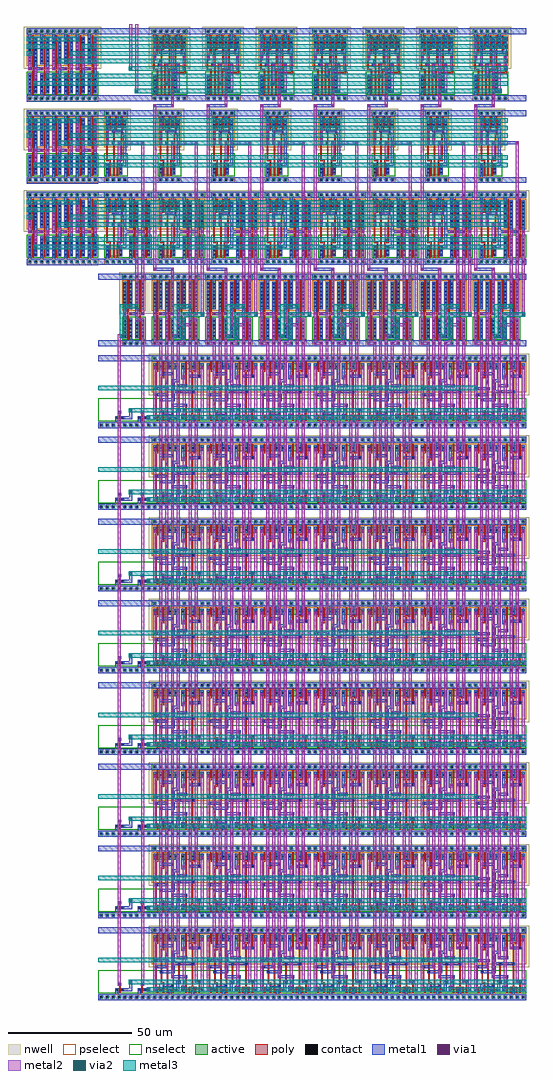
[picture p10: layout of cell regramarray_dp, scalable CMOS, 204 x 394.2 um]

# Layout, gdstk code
from math import pi, radians
import gdstk
lib = gdstk.Library(unit=1e-6, precision=1e-09)
def R(c, l, rs):  # rectangles x0, y0, x1, y1
    for r in rs: c.add(gdstk.rectangle(r[:2], r[2:], *l))
def A(c, l, x, y, w, h, nx, ny, dx, dy):  # array of equal rectangles
    R(c, l, [(x+i*dx, y+j*dy, x+i*dx+w, y+j*dy+h) for i in range(nx) for j in range(ny)])
def P(c, l, *ps):  # polygons
    for p in ps: c.add(gdstk.Polygon(p, *l))
contact = (25, 0)
nwell = (42, 0)
active = (43, 0)
pselect = (44, 0)
nselect = (45, 0)
poly = (46, 0)
metal1 = (49, 0)
via1 = (50, 0)
metal2 = (51, 0)
via2 = (61, 0)
metal3 = (62, 0)

invbuf_4x = lib.new_cell('invbuf_4x')
A(invbuf_4x, contact, 0.9, -0.3, 0.6, 0.6, 4, 2, 2.4, 3)
A(invbuf_4x, contact, 0.9, 4.2, 0.6, 0.6, 4, 4, 2.4, 1.5)
A(invbuf_4x, contact, 0.9, 14.7, 0.6, 0.6, 4, 7, 2.4, 1.5)
A(invbuf_4x, contact, 0.9, 26.7, 0.6, 0.6, 4, 1, 2.4, 0)
R(invbuf_4x, contact, [(0.9,11.7,1.5,12.3), (5.7,11.7,6.3,12.3)])
R(invbuf_4x, nwell, [(-1.2,12,6,28.8), (3.6,12,10.8,28.8)])
A(invbuf_4x, active, 0.6, -0.6, 1.2, 1.2, 4, 2, 2.4, 27)
R(invbuf_4x, active, [(0.6,2.1,4.2,10.2), (5.4,2.1,9,10.2), (0.6,13.8,4.2,24.9), (5.4,13.8,9,24.9)])
R(invbuf_4x, pselect, [(0,-1.2,4.8,1.2), (4.8,-1.2,9.6,1.2), (0,13.2,4.8,25.5), (4.8,13.2,9.6,25.5)])
R(invbuf_4x, nselect, [(0,1.5,4.8,10.8), (4.8,1.5,9.6,10.8), (0,25.8,4.8,28.2), (4.8,25.8,9.6,28.2)])
P(invbuf_4x, poly, [(7.5,25.5),(6.9,25.5),(6.9,12.6),(5.4,12.6),(5.4,11.4),(6.9,11.4),(6.9,1.5),(7.5,1.5)],
  [(2.7,25.5),(2.1,25.5),(2.1,12.6),(0.6,12.6),(0.6,11.4),(2.1,11.4),(2.1,1.5),(2.7,1.5)])
R(invbuf_4x, metal1, [(0,-1.2,9.6,1.2), (0,-1.2,4.8,1.2), (4.8,-1.2,9.6,1.2), (3,2.1,4.2,24.9), (7.8,2.1,9,24.9), (0.6,11.4,1.8,12.6), (3,11.4,6.6,12.6), (0,25.8,9.6,28.2), (0,25.8,4.8,28.2), (4.8,25.8,9.6,28.2)])
P(invbuf_4x, metal1, [(9.6,1.2),(6.6,1.2),(6.6,10.2),(5.4,10.2),(5.4,1.2),(4.8,1.2),(4.8,-1.2),(9.6,-1.2)],
  [(9.6,28.2),(4.8,28.2),(4.8,25.8),(5.4,25.8),(5.4,13.8),(6.6,13.8),(6.6,25.8),(9.6,25.8)],
  [(4.8,1.2),(1.8,1.2),(1.8,10.2),(0.6,10.2),(0.6,1.2),(0,1.2),(0,-1.2),(4.8,-1.2)],
  [(4.8,28.2),(0,28.2),(0,25.8),(0.6,25.8),(0.6,13.8),(1.8,13.8),(1.8,25.8),(4.8,25.8)])
R(invbuf_4x, via1, [(0.9,11.7,1.5,12.3), (3.3,11.7,3.9,12.3), (8.1,11.7,8.7,12.3)])
R(invbuf_4x, metal2, [(0.6,11.4,1.8,12.6), (0.6,11.4,1.8,12.6), (0.6,11.4,1.8,12.6), (0.6,11.4,2.1,12.6), (3,11.4,4.2,12.6), (3,11.4,4.2,12.6), (3,11.4,4.2,12.6), (5.4,11.4,6.6,12.6), (5.4,11.4,6.6,12.6), (7.8,11.4,9,12.6), (7.8,11.4,9,12.6), (7.8,11.4,9,12.6)])

nand3_1x = lib.new_cell('nand3_1x')
A(nand3_1x, contact, 0.9, -0.3, 0.6, 0.6, 4, 2, 2.4, 22.2)
A(nand3_1x, contact, 0.9, 2.7, 0.6, 0.6, 1, 3, 0, 1.5)
A(nand3_1x, contact, 6.3, 2.7, 0.6, 0.6, 1, 3, 0, 1.5)
A(nand3_1x, contact, 0.9, 14.7, 0.6, 0.6, 3, 1, 2.4, 0)
A(nand3_1x, contact, 0.9, 23.4, 0.6, 0.6, 4, 2, 2.4, 3.3)
R(nand3_1x, nwell, [(-1.2,12,10.8,28.8)])
A(nand3_1x, active, 0.6, -0.6, 1.2, 1.2, 4, 2, 2.4, 27)
R(nand3_1x, active, [(0.6,2.1,7.2,6.9), (0.6,21,9,24.9)])
R(nand3_1x, pselect, [(0,-1.2,9.6,1.2), (0,13.2,9.6,25.5)])
R(nand3_1x, nselect, [(0,1.5,9.6,10.8), (0,25.8,9.6,28.2)])
A(nand3_1x, poly, 0.6, 14.4, 1.2, 1.2, 3, 1, 2.4, 0)
P(nand3_1x, poly, [(2.7,8.1),(1.5,8.1),(1.5,19.8),(2.7,19.8),(2.7,25.5),(2.1,25.5),(2.1,20.4),(0.9,20.4),(0.9,7.5),(2.1,7.5),(2.1,1.5),(2.7,1.5)],
  [(5.1,25.5),(4.5,25.5),(4.5,20.4),(3.6,20.4),(3.6,1.5),(4.2,1.5),(4.2,19.8),(5.1,19.8)],
  [(7.5,25.5),(6.9,25.5),(6.9,18.9),(6.6,18.9),(6.6,8.1),(5.1,8.1),(5.1,1.5),(5.7,1.5),(5.7,7.5),(7.2,7.5),(7.2,18.3),(7.5,18.3)])
A(nand3_1x, metal1, 0.6, 14.4, 1.2, 1.2, 3, 1, 2.4, 0)
R(nand3_1x, metal1, [(0,-1.2,9.6,1.2), (0,25.8,9.6,28.2)])
P(nand3_1x, metal1, [(9,24.9),(7.8,24.9),(7.8,20.1),(4.2,20.1),(4.2,24.9),(3,24.9),(3,19.2),(7.8,19.2),(7.8,6.9),(6,6.9),(6,2.1),(7.2,2.1),(7.2,5.7),(9,5.7)],
  [(9.6,28.2),(0,28.2),(0,25.8),(0.6,25.8),(0.6,21),(1.8,21),(1.8,25.8),(5.4,25.8),(5.4,21),(6.6,21),(6.6,25.8),(9.6,25.8)],
  [(9.6,1.2),(1.8,1.2),(1.8,6.9),(0.6,6.9),(0.6,1.2),(0,1.2),(0,-1.2),(9.6,-1.2)])
A(nand3_1x, via1, 0.9, 14.7, 0.6, 0.6, 4, 1, 2.4, 0)
A(nand3_1x, metal2, 0.6, 14.4, 1.2, 1.2, 4, 1, 2.4, 0)

nand5_1x = lib.new_cell('nand5_1x')
A(nand5_1x, contact, 0.9, -0.3, 0.6, 0.6, 6, 2, 2.4, 21)
A(nand5_1x, contact, 0.9, 2.4, 0.6, 0.6, 1, 5, 0, 1.5)
A(nand5_1x, contact, 9.3, 2.4, 0.6, 0.6, 1, 5, 0, 1.5)
A(nand5_1x, contact, 0.9, 22.2, 0.6, 0.6, 6, 2, 2.4, 1.5)
A(nand5_1x, contact, 0.9, 26.7, 0.6, 0.6, 6, 1, 2.4, 0)
R(nand5_1x, contact, [(2.7,13.5,3.3,14.1), (5.7,13.5,6.3,14.1), (10.2,13.5,10.8,14.1), (0.9,15.6,1.5,16.2), (12.9,15.6,13.5,16.2)])
R(nand5_1x, nwell, [(-1.2,12,15.6,28.8)])
A(nand5_1x, active, 0.6, -0.6, 1.2, 1.2, 6, 2, 2.4, 27)
R(nand5_1x, active, [(0.6,2.1,10.2,9.3), (0.6,20.4,13.8,24.9)])
R(nand5_1x, pselect, [(0,-1.2,14.4,1.2), (0,13.2,14.4,25.5)])
R(nand5_1x, nselect, [(0,1.5,14.4,10.8), (0,25.8,14.4,28.2)])
P(nand5_1x, poly, [(2.7,11.7),(1.2,11.7),(1.2,15.3),(1.8,15.3),(1.8,16.5),(1.2,16.5),(1.2,17.7),(2.7,17.7),(2.7,25.5),(2.1,25.5),(2.1,18.3),(0.6,18.3),(0.6,11.1),(2.1,11.1),(2.1,1.5),(2.7,1.5)],
  [(5.1,25.5),(4.5,25.5),(4.5,20.1),(3.6,20.1),(3.6,14.4),(2.4,14.4),(2.4,13.2),(3.6,13.2),(3.6,1.5),(4.2,1.5),(4.2,19.5),(5.1,19.5)],
  [(7.5,25.5),(6.9,25.5),(6.9,14.4),(5.1,14.4),(5.1,1.5),(5.7,1.5),(5.7,13.2),(6.6,13.2),(6.6,13.8),(7.5,13.8)],
  [(11.1,14.4),(9.9,14.4),(9.9,25.5),(9.3,25.5),(9.3,12),(6.6,12),(6.6,1.5),(7.2,1.5),(7.2,11.4),(9.9,11.4),(9.9,13.2),(11.1,13.2)],
  [(13.8,18.3),(12.3,18.3),(12.3,25.5),(11.7,25.5),(11.7,17.7),(13.2,17.7),(13.2,16.5),(12.6,16.5),(12.6,15.3),(13.2,15.3),(13.2,10.5),(8.1,10.5),(8.1,1.5),(8.7,1.5),(8.7,9.9),(13.8,9.9)])
R(nand5_1x, metal1, [(0,-1.2,14.4,1.2), (2.4,13.2,4.2,14.4), (5.4,13.2,6.6,14.4), (9.9,13.2,11.4,14.4), (0.6,15.3,1.8,17.1), (12.6,15.3,13.8,17.1), (0,25.8,14.4,28.2)])
P(nand5_1x, metal1, [(13.8,24.9),(12.6,24.9),(12.6,19.2),(9,19.2),(9,24.9),(7.8,24.9),(7.8,19.2),(4.2,19.2),(4.2,24.9),(3,24.9),(3,18),(7.8,18),(7.8,10.5),(9,10.5),(9,2.1),(10.2,2.1),(10.2,11.7),(9,11.7),(9,18),(13.8,18)],
  [(14.4,28.2),(0,28.2),(0,25.8),(0.6,25.8),(0.6,20.4),(1.8,20.4),(1.8,25.8),(5.4,25.8),(5.4,20.4),(6.6,20.4),(6.6,25.8),(10.2,25.8),(10.2,20.4),(11.4,20.4),(11.4,25.8),(14.4,25.8)],
  [(14.4,1.2),(1.8,1.2),(1.8,9.3),(0.6,9.3),(0.6,1.2),(0,1.2),(0,-1.2),(14.4,-1.2)])
R(nand5_1x, via1, [(3.3,13.5,3.9,14.1), (5.7,13.5,6.3,14.1), (10.5,13.5,11.1,14.1), (0.9,16.2,1.5,16.8), (12.9,16.2,13.5,16.8), (8.1,18.3,8.7,18.9)])
R(nand5_1x, metal2, [(3,13.2,4.2,14.4), (5.4,13.2,6.6,14.4), (10.2,13.2,11.4,14.4), (0.6,15.9,1.8,17.1), (12.6,15.9,13.8,17.1), (7.8,18,9,19.2)])

regram_zipper = lib.new_cell('regram_zipper')
R(regram_zipper, metal1, [(0,-1.2,21.6,1.2), (0,25.8,21.6,28.2), (0.6,29.4,9,30.6), (0,31.8,21.6,34.2), (10.2,44.4,13.8,45.6), (10.2,45.6,11.4,48.6), (0,58.8,21.6,61.2), (0,64.8,21.6,67.2), (10.2,80.4,18.6,81.6), (0,91.8,21.6,94.2), (0.6,95.4,9,96.6), (0,97.8,21.6,100.2), (0,124.8,21.6,127.2)])
R(regram_zipper, via1, [(0.9,29.7,1.5,30.3), (8.1,29.7,8.7,30.3), (12.9,44.7,13.5,45.3), (10.5,47.7,11.1,48.3), (10.5,80.7,11.1,81.3), (17.7,80.7,18.3,81.3), (0.9,95.7,1.5,96.3), (8.1,95.7,8.7,96.3)])
A(regram_zipper, metal2, 3, -0.6, 1.2, 1.2, 4, 2, 2.4, 48)
A(regram_zipper, metal2, 3, 80.4, 1.2, 1.2, 4, 1, 2.4, 0)
R(regram_zipper, metal2, [(0.6,-0.6,1.8,12.6), (1.8,-0.6,4.2,0.6), (5.4,-0.6,6.6,12.6), (7.8,-0.6,9,3.6), (10.2,-0.6,13.2,0.6), (15,-0.6,16.2,6.9), (15,-0.6,16.2,0.6), (17.4,-0.6,18.6,10.2), (17.4,-0.6,18.6,0.6), (12,0.6,13.2,3.3), (9,2.4,10.2,3.6), (10.2,6.9,11.4,12.6), (11.4,6.9,16.2,8.1), (15,9,17.4,10.2), (15,10.2,16.2,12.6), (19.8,11.1,21,45.6), (7.8,11.4,9,30.6), (17.4,11.4,18.6,81.6), (14.7,14.4,16.2,15.6), (15,15.6,16.2,45.6), (0.6,29.4,1.8,96.6), (12.6,44.4,13.8,45.6), (13.5,45,13.8,45.15), (7.8,95.4,9,118.2), (3,112.2,4.2,113.4), (5.4,112.2,6.6,113.4), (10.2,112.2,11.4,113.4), (0.6,114.9,1.8,116.1), (12.6,114.9,13.8,116.1)])
R(regram_zipper, via2, [(12.3,2.4,12.9,3), (9.3,2.7,9.9,3.3), (20.1,11.4,20.7,12), (15,14.7,15.6,15.3)])
R(regram_zipper, metal3, [(11.7,1.5,13.5,12.6), (8.7,2.1,10.5,15.9), (13.5,10.8,21.3,12.6), (10.5,14.1,16.2,15.9)])
regram_zipper.add(gdstk.Reference(invbuf_4x, (9.6,0), rotation=pi, x_reflection=True))
regram_zipper.add(gdstk.Reference(invbuf_4x, (19.2,0), rotation=pi, x_reflection=True))
regram_zipper.add(gdstk.Reference(invbuf_4x, (12,33)))
regram_zipper.add(gdstk.Reference(nand3_1x, (2.4,33)))
regram_zipper.add(gdstk.Reference(nand3_1x, (2.4,66)))
regram_zipper.add(gdstk.Reference(nand5_1x, (0,99)))

regram_dp = lib.new_cell('regram_dp')
A(regram_dp, contact, 0.9, -0.3, 0.6, 0.6, 9, 2, 2.4, 27)
A(regram_dp, contact, 12.3, 2.4, 0.6, 0.6, 3, 2, 3.9, 21)
R(regram_dp, contact, [(0.9,2.4,1.5,3), (3.3,2.4,3.9,3), (7.2,2.4,7.8,3), (9.6,2.4,10.2,3), (8.1,4.5,8.7,5.1), (10.8,5.7,11.4,6.3), (18.9,6,19.5,6.6), (13.5,7.8,14.1,8.4), (3.6,9.9,4.2,10.5), (1.5,12,2.1,12.6), (10.8,13.2,11.4,13.8), (16.2,13.2,16.8,13.8), (1.5,14.4,2.1,15), (6,14.4,6.6,15), (13.5,15.6,14.1,16.2), (5.7,16.8,6.3,17.4), (18.9,19.5,19.5,20.1), (8.1,20.4,8.7,21), (0.9,23.4,1.5,24), (3.3,23.4,3.9,24), (7.2,23.4,7.8,24), (9.6,23.4,10.2,24)])
R(regram_dp, nwell, [(-1.2,12,22.8,28.8)])
A(regram_dp, active, 0.6, -0.6, 1.2, 1.2, 9, 2, 2.4, 27)
R(regram_dp, active, [(0.6,2.1,10.5,3.3), (12,2.1,21,3.3), (0.6,22.5,10.5,24.9), (12,22.5,21,24.9)])
R(regram_dp, pselect, [(0,-1.2,21.6,1.2), (0,13.2,21.6,25.5)])
R(regram_dp, nselect, [(0,1.5,21.6,10.8), (0,25.8,21.6,28.2)])
P(regram_dp, poly, [(19.8,6.9),(18.6,6.9),(18.6,5.7),(18.9,5.7),(18.9,1.5),(19.5,1.5),(19.5,5.7),(19.8,5.7)],
  [(19.8,20.4),(19.5,20.4),(19.5,25.5),(18.9,25.5),(18.9,20.4),(18.6,20.4),(18.6,19.2),(19.8,19.2)],
  [(18,4.2),(16.8,4.2),(16.8,12.9),(17.1,12.9),(17.1,14.1),(16.8,14.1),(16.8,21.6),(18,21.6),(18,25.5),(17.4,25.5),(17.4,22.2),(15.6,22.2),(15.6,25.5),(15,25.5),(15,21.6),(16.2,21.6),(16.2,14.1),(15.9,14.1),(15.9,12.9),(16.2,12.9),(16.2,4.2),(15,4.2),(15,1.5),(15.6,1.5),(15.6,3.6),(17.4,3.6),(17.4,1.5),(18,1.5)],
  [(14.4,8.7),(13.2,8.7),(13.2,7.5),(13.5,7.5),(13.5,1.5),(14.1,1.5),(14.1,7.5),(14.4,7.5)],
  [(14.4,16.5),(14.1,16.5),(14.1,25.5),(13.5,25.5),(13.5,16.5),(13.2,16.5),(13.2,15.3),(14.4,15.3)],
  [(11.7,6.6),(11.4,6.6),(11.4,12.9),(11.7,12.9),(11.7,14.1),(10.5,14.1),(10.5,12.9),(10.8,12.9),(10.8,6.6),(10.5,6.6),(10.5,5.4),(11.7,5.4)],
  [(9,25.5),(8.4,25.5),(8.4,21.3),(7.8,21.3),(7.8,20.1),(8.4,20.1),(8.4,5.4),(7.8,5.4),(7.8,4.2),(8.4,4.2),(8.4,1.5),(9,1.5)],
  [(6.9,15.3),(5.7,15.3),(5.7,14.1),(6,14.1),(6,1.5),(6.6,1.5),(6.6,14.1),(6.9,14.1)],
  [(6.6,25.5),(6,25.5),(6,17.7),(5.4,17.7),(5.4,16.5),(6.6,16.5)],
  [(5.1,6),(4.2,6),(4.2,9.6),(4.5,9.6),(4.5,10.8),(4.2,10.8),(4.2,18.9),(5.1,18.9),(5.1,25.5),(4.5,25.5),(4.5,19.5),(3.6,19.5),(3.6,10.8),(3.3,10.8),(3.3,9.6),(3.6,9.6),(3.6,5.4),(4.5,5.4),(4.5,1.5),(5.1,1.5)],
  [(2.7,4.2),(2.1,4.2),(2.1,11.7),(2.4,11.7),(2.4,12.9),(1.2,12.9),(1.2,11.7),(1.5,11.7),(1.5,3.6),(2.1,3.6),(2.1,1.5),(2.7,1.5)],
  [(2.7,25.5),(2.1,25.5),(2.1,22.2),(1.5,22.2),(1.5,15.3),(1.2,15.3),(1.2,14.1),(2.4,14.1),(2.4,15.3),(2.1,15.3),(2.1,21.6),(2.7,21.6)])
R(regram_dp, metal1, [(0,-1.2,21.6,1.2), (0.6,2.1,1.8,3.3), (19.8,2.1,21,3.3), (17.4,5.7,19.8,6.9), (7.8,7.5,14.4,8.7), (1.2,11.7,6.6,12.9), (1.2,14.1,6.9,15.3), (10.2,15.3,14.4,16.5), (5.4,16.5,6.6,17.7), (15,19.2,19.8,20.4), (0.6,22.5,1.8,24.9), (19.8,22.5,21,24.9), (0,25.8,21.6,28.2)])
P(regram_dp, metal1, [(21.6,1.2),(17.1,1.2),(17.1,3.3),(15.9,3.3),(15.9,1.2),(8.1,1.2),(8.1,3.3),(6.9,3.3),(6.9,1.2),(0,1.2),(0,-1.2),(21.6,-1.2)],
  [(21.6,28.2),(0,28.2),(0,25.8),(6.9,25.8),(6.9,22.5),(8.1,22.5),(8.1,25.8),(15.9,25.8),(15.9,22.5),(17.1,22.5),(17.1,25.8),(21.6,25.8)],
  [(17.1,14.1),(9.3,14.1),(9.3,17.4),(11.1,17.4),(11.1,24.9),(9.3,24.9),(9.3,22.5),(9.9,22.5),(9.9,18.6),(8.1,18.6),(8.1,10.8),(3.3,10.8),(3.3,9.6),(9.3,9.6),(9.3,12.9),(17.1,12.9)],
  [(13.8,4.5),(12,4.5),(12,2.1),(13.2,2.1),(13.2,3.3),(13.8,3.3)],
  [(13.8,20.1),(13.2,20.1),(13.2,24.9),(12,24.9),(12,18.6),(13.8,18.6)],
  [(11.7,6.6),(9.9,6.6),(9.9,3.3),(9.3,3.3),(9.3,2.1),(11.1,2.1),(11.1,5.4),(11.7,5.4)],
  [(9,5.4),(3,5.4),(3,2.1),(4.2,2.1),(4.2,4.2),(9,4.2)],
  [(9,21.3),(4.2,21.3),(4.2,24.9),(3,24.9),(3,20.1),(9,20.1)])
R(regram_dp, via1, [(0.9,2.4,1.5,3), (20.1,2.4,20.7,3), (12.9,3.6,13.5,4.2), (17.7,6,18.3,6.6), (8.1,7.8,8.7,8.4), (5.7,12,6.3,12.6), (3.3,14.4,3.9,15), (10.5,15.6,11.1,16.2), (5.7,16.8,6.3,17.4), (12.9,19.2,13.5,19.8), (15.3,19.5,15.9,20.1), (0.9,22.8,1.5,23.4), (20.1,22.8,20.7,23.4)])
R(regram_dp, metal2, [(0.6,2.1,1.8,23.7), (19.8,2.1,21,23.7), (12.6,3.3,13.8,20.1), (0.6,5.1,1.8,6.3), (17.4,5.7,18.6,6.9), (7.8,7.5,9,8.7), (12.6,9.6,13.8,10.8), (5.4,11.7,6.6,17.7), (5.4,11.7,6.6,12.9), (3,14.1,4.2,15.3), (10.2,15.3,11.4,16.5), (19.8,15.6,21,16.8), (15,19.2,16.2,20.4)])

regram_8 = lib.new_cell('regram_8')
R(regram_8, metal1, [(0,-1.2,21.6,1.2), (0,25.8,21.6,28.2), (0,31.8,21.6,34.2), (0,58.8,21.6,61.2), (0,64.8,21.6,67.2), (0,91.8,21.6,94.2), (0,97.8,21.6,100.2), (0,124.8,21.6,127.2), (0,130.8,21.6,133.2), (0,157.8,21.6,160.2), (0,163.8,21.6,166.2), (0,190.8,21.6,193.2), (0,196.8,21.6,199.2), (0,223.8,21.6,226.2), (0,229.8,21.6,232.2), (0,256.8,21.6,259.2)])
A(regram_8, metal2, 19.8, 2.4, 1.2, 14.4, 1, 8, 0, 33)
A(regram_8, metal2, 0.6, 5.1, 1.2, 10.5, 1, 8, 0, 33)
A(regram_8, metal2, 12.6, 5.4, 1.2, 5.4, 1, 8, 0, 33)
A(regram_8, metal2, 3, 259.8, 1.2, 1.2, 4, 1, 2.4, 0)
R(regram_8, metal2, [(17.4,5.7,18.6,261), (7.8,7.5,9,261), (5.4,11.7,6.6,261), (3,14.1,4.2,261), (10.2,15.3,11.4,261), (15,19.2,16.2,261), (15,259.8,16.2,261), (17.4,259.8,18.6,261)])
A(regram_8, via2, 20.1, 2.7, 0.6, 0.6, 1, 8, 0, 33)
A(regram_8, via2, 12.9, 5.7, 0.6, 0.6, 1, 8, 0, 33)
A(regram_8, via2, 0.9, 14.7, 0.6, 0.6, 1, 8, 0, 33)
A(regram_8, metal3, 19.5, 2.1, 1.8, 1.8, 1, 8, 0, 33)
A(regram_8, metal3, 12.3, 5.1, 1.8, 1.8, 1, 8, 0, 33)
A(regram_8, metal3, 0.3, 14.1, 1.8, 1.8, 1, 8, 0, 33)
r = gdstk.Reference(regram_dp, (0,0)); r.repetition = gdstk.Repetition(1, 8, v1=(24,0), v2=(0,33)); regram_8.add(r)

regramvector_dp = lib.new_cell('regramvector_dp')
R(regramvector_dp, metal1, [(0,-1.2,21.6,1.2), (0,25.8,21.6,28.2), (0,31.8,21.6,34.2), (0,58.8,21.6,61.2), (0,64.8,21.6,67.2), (0,91.8,21.6,94.2), (0,97.8,21.6,100.2), (0,124.8,21.6,127.2), (0,130.8,21.6,133.2), (0,157.8,21.6,160.2), (0,163.8,21.6,166.2), (0,190.8,21.6,193.2), (0,196.8,21.6,199.2), (0,223.8,21.6,226.2), (0,229.8,21.6,232.2), (0,256.8,21.6,259.2), (0,262.8,21.6,265.2), (0,289.8,21.6,292.2), (0,289.8,21.6,292.2), (0,295.8,21.6,298.2), (0,322.8,21.6,325.2), (0,328.8,21.6,331.2), (0,355.8,21.6,358.2), (0,361.8,21.6,364.2), (0,388.8,21.6,391.2)])
A(regramvector_dp, metal2, 3, 259.8, 1.2, 4.8, 4, 1, 2.4, 0)
A(regramvector_dp, metal2, 3, 311.4, 1.2, 1.2, 3, 2, 2.4, 33)
R(regramvector_dp, metal2, [(15,259.8,16.2,264.6), (17.4,259.8,18.6,264.6), (10.2,365.4,11.4,377.4), (12.6,374.4,13.8,380.1), (3,376.2,4.2,377.4), (5.4,376.2,6.6,377.4), (0.6,378.9,1.8,380.1)])
R(regramvector_dp, via2, [(10.5,365.7,11.1,366.3), (12.9,374.7,13.5,375.3)])
A(regramvector_dp, metal3, 19.5, 2.1, 1.8, 1.8, 1, 8, 0, 33)
A(regramvector_dp, metal3, 12.3, 5.1, 1.8, 1.8, 1, 8, 0, 33)
A(regramvector_dp, metal3, 0.3, 14.1, 1.8, 1.8, 1, 8, 0, 33)
R(regramvector_dp, metal3, [(9.9,365.1,11.7,366.9), (12.3,374.1,14.1,375.9)])
regramvector_dp.add(gdstk.Reference(regram_zipper, (0,264)))
regramvector_dp.add(gdstk.Reference(regram_8, (0,0)))

regram0_zipper = lib.new_cell('regram0_zipper')
R(regram0_zipper, metal1, [(0,-1.2,21.6,1.2), (0,25.8,21.6,28.2), (0,31.8,21.6,34.2), (10.2,44.4,13.8,45.6), (10.2,45.6,11.4,48.6), (0,58.8,21.6,61.2), (0,64.8,21.6,67.2), (10.2,80.4,18.6,81.6), (0,91.8,21.6,94.2)])
R(regram0_zipper, via1, [(12.9,44.7,13.5,45.3), (10.5,47.7,11.1,48.3), (10.5,80.7,11.1,81.3), (17.7,80.7,18.3,81.3)])
A(regram0_zipper, metal2, 3, 47.4, 1.2, 1.2, 4, 2, 2.4, 33)
R(regram0_zipper, metal2, [(7.8,-0.6,9,3.6), (7.8,-0.6,9,0.6), (17.4,-0.6,18.6,10.2), (17.4,-0.6,18.6,0.6), (9,2.4,10.2,3.6), (15,9,17.4,10.2), (15,10.2,16.2,12.6), (17.4,11.4,18.6,81.6), (14.7,14.4,16.2,15.6), (15,15.6,16.2,45.6), (12.6,44.4,13.8,45.6), (13.5,45,13.8,45.15)])
R(regram0_zipper, via2, [(9.3,2.7,9.9,3.3), (15,14.7,15.6,15.3)])
R(regram0_zipper, metal3, [(8.7,2.1,10.5,15.9), (10.5,14.1,16.2,15.9)])
regram0_zipper.add(gdstk.Reference(invbuf_4x, (19.2,0), rotation=pi, x_reflection=True))
regram0_zipper.add(gdstk.Reference(invbuf_4x, (12,33)))
regram0_zipper.add(gdstk.Reference(nand3_1x, (2.4,33)))
regram0_zipper.add(gdstk.Reference(nand3_1x, (2.4,66)))

regram0 = lib.new_cell('regram0')
A(regram0, contact, 0.9, -0.3, 0.6, 0.6, 9, 1, 2.4, 0)
R(regram0, contact, [(7.2,2.7,7.8,3.3), (9.6,2.7,10.2,3.3), (16.2,2.7,16.8,3.3), (18.6,2.7,19.2,3.3), (8.4,4.8,9,5.4), (17.4,4.8,18,5.4)])
A(regram0, active, 0.6, -0.6, 1.2, 1.2, 9, 1, 2.4, 0)
R(regram0, active, [(6.9,2.4,10.5,3.6), (15.9,2.4,19.5,3.6)])
R(regram0, pselect, [(0,-1.2,21.6,1.2)])
R(regram0, nselect, [(0,1.5,21.6,10.8)])
P(regram0, poly, [(9.3,5.7),(8.1,5.7),(8.1,4.5),(8.4,4.5),(8.4,1.5),(9,1.5),(9,4.5),(9.3,4.5)],
  [(18.3,5.7),(17.1,5.7),(17.1,4.5),(17.4,4.5),(17.4,1.5),(18,1.5),(18,4.5),(18.3,4.5)])
R(regram0, metal1, [(0,-1.2,21.6,1.2), (18.3,2.4,21,3.6), (7.8,4.5,9.3,5.7), (17.1,4.5,18.6,5.7)])
P(regram0, metal1, [(13.8,6.6),(12.6,6.6),(12.6,3.6),(9.3,3.6),(9.3,2.4),(13.8,2.4)],
  [(21.6,1.2),(17.1,1.2),(17.1,3.6),(15.9,3.6),(15.9,1.2),(8.1,1.2),(8.1,3.6),(6.9,3.6),(6.9,1.2),(0,1.2),(0,-1.2),(21.6,-1.2)])
R(regram0, via1, [(20.1,2.7,20.7,3.3), (8.1,4.8,8.7,5.4), (17.7,4.8,18.3,5.4), (12.9,5.7,13.5,6.3)])
R(regram0, metal2, [(19.8,2.4,21,3.6), (7.8,4.5,9,5.7), (17.4,4.5,18.6,5.7), (12.6,5.4,13.8,6.6)])
R(regram0, via2, [(20.1,2.7,20.7,3.3), (12.9,5.7,13.5,6.3)])
R(regram0, metal3, [(19.5,2.1,21.3,3.9), (12.3,5.1,14.1,6.9)])

regramvector0_dp = lib.new_cell('regramvector0_dp')
A(regramvector0_dp, metal1, 0, -1.2, 21.6, 2.4, 1, 9, 0, 33)
R(regramvector0_dp, metal1, [(0,289.8,21.6,292.2), (0,295.8,21.6,298.2), (0,322.8,21.6,325.2), (0,328.8,21.6,331.2), (0,355.8,21.6,358.2)])
A(regramvector0_dp, metal2, 3, 311.4, 1.2, 1.2, 3, 2, 2.4, 33)
R(regramvector0_dp, metal2, [(7.8,4.5,9,264.6), (17.4,4.5,18.6,264.6)])
A(regramvector0_dp, metal3, 19.5, 2.1, 1.8, 1.8, 1, 8, 0, 33)
A(regramvector0_dp, metal3, 12.3, 5.1, 1.8, 1.8, 1, 8, 0, 33)
regramvector0_dp.add(gdstk.Reference(regram0_zipper, (0,264)))
r = gdstk.Reference(regram0, (0,0)); r.repetition = gdstk.Repetition(1, 8, v1=(21.6,0), v2=(0,33)); regramvector0_dp.add(r)

regramadrbuf = lib.new_cell('regramadrbuf')
A(regramadrbuf, metal1, 0, -1.5, 28.8, 2.7, 1, 3, 0, 33)
A(regramadrbuf, metal1, 0, 25.8, 28.8, 2.4, 1, 3, 0, 33)
A(regramadrbuf, metal2, 3, 5.4, 1.2, 7.2, 1, 3, 0, 33)
A(regramadrbuf, metal2, 7.8, 8.4, 1.2, 4.2, 1, 3, 0, 33)
A(regramadrbuf, metal2, 0.6, 11.4, 1.2, 7.2, 1, 3, 0, 33)
A(regramadrbuf, metal2, 10.2, 11.4, 1.2, 10.2, 1, 3, 0, 33)
A(regramadrbuf, metal2, 12.6, 11.4, 1.2, 4.2, 1, 3, 0, 33)
A(regramadrbuf, metal2, 17.4, 11.4, 1.2, 7.2, 1, 3, 0, 33)
A(regramadrbuf, metal2, 19.8, 11.4, 1.2, 13.2, 1, 3, 0, 33)
A(regramadrbuf, metal2, 22.2, 11.4, 1.2, 10.2, 1, 3, 0, 33)
A(regramadrbuf, metal2, 27, 11.4, 1.2, 13.2, 1, 3, 0, 33)
A(regramadrbuf, via2, 3.3, 5.7, 0.6, 0.6, 1, 3, 0, 33)
A(regramadrbuf, via2, 8.1, 8.7, 0.6, 0.6, 1, 3, 0, 33)
A(regramadrbuf, via2, 12.9, 14.7, 0.6, 0.6, 1, 3, 0, 33)
A(regramadrbuf, via2, 0.9, 17.7, 0.6, 0.6, 1, 3, 0, 33)
A(regramadrbuf, via2, 17.7, 17.7, 0.6, 0.6, 1, 3, 0, 33)
A(regramadrbuf, via2, 10.5, 20.7, 0.6, 0.6, 1, 3, 0, 33)
A(regramadrbuf, via2, 22.5, 20.7, 0.6, 0.6, 1, 3, 0, 33)
A(regramadrbuf, via2, 20.1, 23.7, 0.6, 0.6, 1, 3, 0, 33)
A(regramadrbuf, via2, 27.3, 23.7, 0.6, 0.6, 1, 3, 0, 33)
A(regramadrbuf, metal3, 2.7, 5.1, 26.1, 1.8, 1, 3, 0, 33)
A(regramadrbuf, metal3, 7.5, 8.1, 21.3, 1.8, 1, 3, 0, 33)
A(regramadrbuf, metal3, 12.3, 14.1, 16.5, 1.8, 1, 3, 0, 33)
A(regramadrbuf, metal3, 27, 14.1, 1.8, 1.8, 1, 4, 0, 3)
A(regramadrbuf, metal3, 0, 17.1, 2.1, 1.8, 1, 3, 0, 33)
A(regramadrbuf, metal3, 0, 17.1, 1.8, 1.8, 1, 3, 0, 3)
A(regramadrbuf, metal3, 17.1, 17.1, 11.7, 1.8, 1, 3, 0, 33)
A(regramadrbuf, metal3, 0, 20.1, 11.7, 1.8, 1, 3, 0, 33)
A(regramadrbuf, metal3, 21.9, 20.1, 6.9, 1.8, 1, 3, 0, 33)
A(regramadrbuf, metal3, 0, 23.1, 21.3, 1.8, 1, 3, 0, 33)
A(regramadrbuf, metal3, 26.7, 23.1, 2.1, 1.8, 1, 3, 0, 33)
A(regramadrbuf, metal3, 27, 47.1, 1.8, 1.8, 1, 4, 0, 3)
A(regramadrbuf, metal3, 0, 50.1, 1.8, 1.8, 1, 3, 0, 3)
A(regramadrbuf, metal3, 27, 80.1, 1.8, 1.8, 1, 4, 0, 3)
A(regramadrbuf, metal3, 0, 83.1, 1.8, 1.8, 1, 3, 0, 3)
R(regramadrbuf, metal3, [(27,5.1,28.8,6.9), (27,8.1,28.8,9.9), (27,38.1,28.8,39.9), (27,41.1,28.8,42.9), (27,71.1,28.8,72.9), (27,74.1,28.8,75.9)])
r = gdstk.Reference(invbuf_4x, (0,0)); r.repetition = gdstk.Repetition(3, 1, v1=(9.6,0), v2=(0,0)); regramadrbuf.add(r)
r = gdstk.Reference(invbuf_4x, (0,33)); r.repetition = gdstk.Repetition(3, 1, v1=(9.6,0), v2=(0,0)); regramadrbuf.add(r)
r = gdstk.Reference(invbuf_4x, (0,66)); r.repetition = gdstk.Repetition(3, 1, v1=(9.6,0), v2=(0,0)); regramadrbuf.add(r)

regramarray_dp = lib.new_cell('regramarray_dp')
R(regramarray_dp, metal1, [(0,-1.2,172.8,1.2), (0,25.8,172.8,28.2), (0,31.8,172.8,34.2), (0,58.8,172.8,61.2), (0,64.8,172.8,67.2), (0,91.8,172.8,94.2), (0,97.8,172.8,100.2), (0,124.8,172.8,127.2), (0,130.8,172.8,133.2), (0,157.8,172.8,160.2), (0,163.8,172.8,166.2), (0,190.8,172.8,193.2), (0,196.8,172.8,199.2), (0,223.8,172.8,226.2), (0,229.8,172.8,232.2), (0,256.8,172.8,259.2), (0,262.8,172.8,265.2), (0,289.8,172.8,292.2), (-28.8,295.8,172.8,298.2), (-28.8,322.8,172.8,325.2), (-28.8,328.8,172.8,331.2), (-28.8,355.8,172.8,358.2), (-28.8,361.8,172.8,364.2), (-28.8,388.8,172.8,391.2)])
A(regramarray_dp, metal2, 7.8, 302.4, 1.2, 10.2, 4, 2, 21.6, 33)
A(regramarray_dp, metal2, 94.2, 305.4, 1.2, 7.2, 4, 2, 21.6, 33)
A(regramarray_dp, metal2, 3, 311.4, 1.2, 7.2, 4, 2, 43.2, 33)
A(regramarray_dp, metal2, 24.6, 311.4, 1.2, 10.2, 4, 2, 43.2, 33)
A(regramarray_dp, metal2, 27, 368.4, 1.2, 9, 3, 1, 21.6, 0)
A(regramarray_dp, metal2, 91.8, 371.4, 1.2, 6, 4, 1, 21.6, 0)
A(regramarray_dp, metal2, 22.2, 378.9, 1.2, 8.7, 4, 1, 43.2, 0)
A(regramarray_dp, metal2, 43.8, 378.9, 1.2, 5.7, 3, 1, 43.2, 0)
R(regramarray_dp, metal2, [(5.4,311.4,6.6,312.6), (27,311.4,28.2,312.6), (48.6,311.4,49.8,315.6), (70.2,311.4,71.4,315.6), (91.8,311.4,93,312.6), (113.4,311.4,114.6,312.6), (135,311.4,136.2,315.6), (156.6,311.4,157.8,315.6), (5.4,344.4,6.6,345.6), (27,344.4,28.2,345.6), (48.6,344.4,49.8,348.6), (70.2,344.4,71.4,348.6), (91.8,344.4,93,345.6), (113.4,344.4,114.6,345.6), (135,344.4,136.2,348.6), (156.6,344.4,157.8,348.6), (15,365.4,16.2,393), (12.6,374.4,13.8,393), (24.6,376.2,25.8,378.6), (46.2,376.2,47.4,381.6), (67.8,376.2,69,381.6), (89.4,376.2,90.6,378.6), (111,376.2,112.2,378.6), (132.6,376.2,133.8,381.6), (154.2,376.2,155.4,381.6), (12.6,391.8,13.8,393), (15,391.8,16.2,393)])
A(regramarray_dp, via2, 8.1, 302.7, 0.6, 0.6, 4, 2, 21.6, 33)
A(regramarray_dp, via2, 94.5, 305.7, 0.6, 0.6, 4, 2, 21.6, 33)
A(regramarray_dp, via2, 3.3, 317.7, 0.6, 0.6, 4, 2, 43.2, 33)
A(regramarray_dp, via2, 24.9, 320.7, 0.6, 0.6, 4, 2, 43.2, 33)
A(regramarray_dp, via2, 27.3, 368.7, 0.6, 0.6, 3, 1, 21.6, 0)
A(regramarray_dp, via2, 92.1, 371.7, 0.6, 0.6, 4, 1, 21.6, 0)
A(regramarray_dp, via2, 44.1, 383.7, 0.6, 0.6, 3, 1, 43.2, 0)
A(regramarray_dp, via2, 22.5, 386.7, 0.6, 0.6, 4, 1, 43.2, 0)
R(regramarray_dp, via2, [(5.7,311.7,6.3,312.3), (27.3,311.7,27.9,312.3), (92.1,311.7,92.7,312.3), (113.7,311.7,114.3,312.3), (48.9,314.7,49.5,315.3), (70.5,314.7,71.1,315.3), (135.3,314.7,135.9,315.3), (156.9,314.7,157.5,315.3), (5.7,344.7,6.3,345.3), (27.3,344.7,27.9,345.3), (92.1,344.7,92.7,345.3), (113.7,344.7,114.3,345.3), (48.9,347.7,49.5,348.3), (70.5,347.7,71.1,348.3), (135.3,347.7,135.9,348.3), (156.9,347.7,157.5,348.3), (15.3,365.7,15.9,366.3), (12.9,374.7,13.5,375.3), (24.9,377.7,25.5,378.3), (89.7,377.7,90.3,378.3), (111.3,377.7,111.9,378.3), (46.5,380.7,47.1,381.3), (68.1,380.7,68.7,381.3), (132.9,380.7,133.5,381.3), (154.5,380.7,155.1,381.3)])
A(regramarray_dp, metal3, 19.5, 2.1, 153.3, 1.8, 1, 8, 0, 33)
A(regramarray_dp, metal3, 12.3, 5.1, 160.5, 1.8, 1, 8, 0, 33)
A(regramarray_dp, metal3, 0, 14.1, 1.8, 1.8, 1, 8, 0, 33)
A(regramarray_dp, metal3, 0, 14.1, 153.3, 1.8, 1, 8, 0, 33)
A(regramarray_dp, metal3, -28.8, 314.1, 1.8, 1.8, 1, 3, 0, 3)
A(regramarray_dp, metal3, -2.1, 320.1, 167.4, 1.8, 1, 3, 0, 33)
A(regramarray_dp, metal3, -28.8, 347.1, 1.8, 1.8, 1, 3, 0, 3)
A(regramarray_dp, metal3, -28.8, 380.1, 1.8, 1.8, 1, 3, 0, 3)
R(regramarray_dp, metal3, [(171,2.1,172.8,3.9), (171,5.1,172.8,6.9), (171,35.1,172.8,36.9), (171,38.1,172.8,39.9), (171,68.1,172.8,69.9), (171,71.1,172.8,72.9), (171,101.1,172.8,102.9), (171,104.1,172.8,105.9), (171,134.1,172.8,135.9), (171,137.1,172.8,138.9), (171,167.1,172.8,168.9), (171,170.1,172.8,171.9), (171,200.1,172.8,201.9), (171,203.1,172.8,204.9), (171,233.1,172.8,234.9), (171,236.1,172.8,237.9), (-1.8,302.1,165.3,303.9), (-1.8,305.1,165.3,306.9), (-1.8,311.1,165.3,312.9), (-1.8,314.1,165.3,315.9), (-3,317.1,165.3,318.9), (-3.9,335.1,165.3,336.9), (-3.9,338.1,165.3,339.9), (-4.5,344.1,165.3,345.9), (-4.5,347.1,165.3,348.9), (-4.2,350.1,165.3,351.9), (14.7,365.1,162.9,366.9), (-2.4,368.1,165.3,369.9), (-2.4,371.1,165.3,372.9), (12.3,374.1,165.3,375.9), (-3.3,377.1,165.3,378.9), (-3.6,380.1,165.3,381.9), (-3.6,383.1,165.3,384.9)])
regramarray_dp.add(gdstk.Reference(regramvector_dp, (21.6,0)))
regramarray_dp.add(gdstk.Reference(regramvector_dp, (43.2,0)))
regramarray_dp.add(gdstk.Reference(regramvector_dp, (64.8,0)))
regramarray_dp.add(gdstk.Reference(regramvector_dp, (86.4,0)))
regramarray_dp.add(gdstk.Reference(regramvector_dp, (108,0)))
regramarray_dp.add(gdstk.Reference(regramvector_dp, (129.6,0)))
regramarray_dp.add(gdstk.Reference(regramvector_dp, (151.2,0)))
regramarray_dp.add(gdstk.Reference(regramvector0_dp, (0,0)))
r = gdstk.Reference(regramadrbuf, (-28.8,297)); r.repetition = gdstk.Repetition(1, 1, v1=(31.2,0), v2=(0,96)); regramarray_dp.add(r)

lib.write_gds('regramarray_dp.gds')
